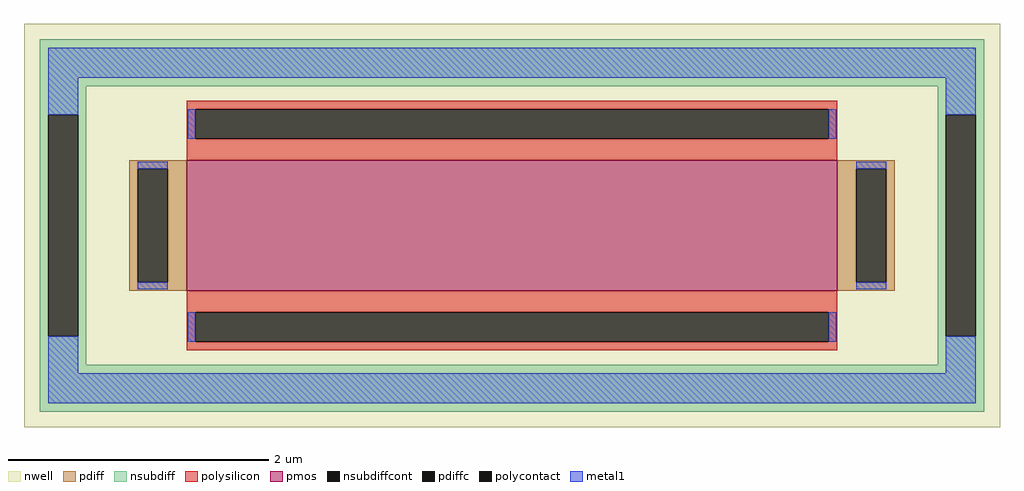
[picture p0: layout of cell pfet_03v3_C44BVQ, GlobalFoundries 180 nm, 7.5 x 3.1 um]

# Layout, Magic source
magic
tech gf180mcuD
magscale 1 10
<< nwell >>
rect -750 -310 750 310
<< pmos >>
rect -500 -100 500 100
<< pdiff >>
rect -588 87 -500 100
rect -588 -87 -575 87
rect -529 -87 -500 87
rect -588 -100 -500 -87
rect 500 87 588 100
rect 500 -87 529 87
rect 575 -87 588 87
rect 500 -100 588 -87
<< pdiffc >>
rect -575 -87 -529 87
rect 529 -87 575 87
<< nsubdiff >>
rect -726 214 726 286
rect -726 170 -654 214
rect -726 -170 -713 170
rect -667 -170 -654 170
rect 654 170 726 214
rect -726 -214 -654 -170
rect 654 -170 667 170
rect 713 -170 726 170
rect 654 -214 726 -170
rect -726 -286 726 -214
<< nsubdiffcont >>
rect -713 -170 -667 170
rect 667 -170 713 170
<< polysilicon >>
rect -500 179 500 192
rect -500 133 -487 179
rect 487 133 500 179
rect -500 100 500 133
rect -500 -133 500 -100
rect -500 -179 -487 -133
rect 487 -179 500 -133
rect -500 -192 500 -179
<< polycontact >>
rect -487 133 487 179
rect -487 -179 487 -133
<< metal1 >>
rect -713 227 713 273
rect -713 170 -667 227
rect -498 133 -487 179
rect 487 133 498 179
rect 667 170 713 227
rect -575 87 -529 98
rect -575 -98 -529 -87
rect 529 87 575 98
rect 529 -98 575 -87
rect -713 -227 -667 -170
rect -498 -179 -487 -133
rect 487 -179 498 -133
rect 667 -227 713 -170
rect -713 -273 713 -227
<< properties >>
string FIXED_BBOX -690 -250 690 250
string gencell pfet_03v3
string library gf180mcu
string parameters w 1 l 5 m 1 nf 1 diffcov 100 polycov 100 guard 1 glc 1 grc 1 gtc 0 gbc 0 tbcov 100 rlcov 100 topc 1 botc 1 poverlap 0 doverlap 1 lmin 0.28 wmin 0.22 class mosfet full_metal 1 compatible {pfet_03v3 pfet_05v0 pfet_06v0}
<< end >>
